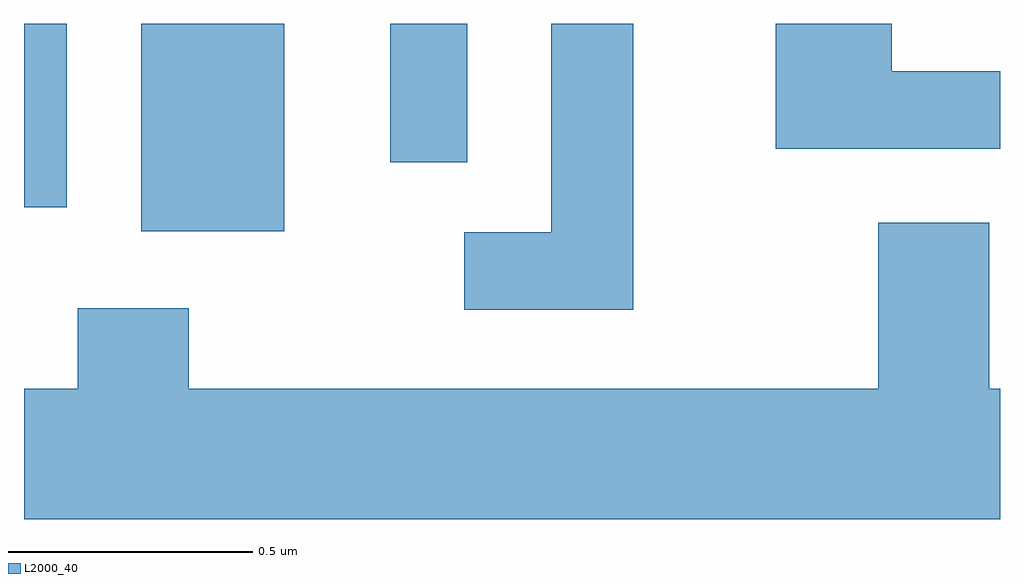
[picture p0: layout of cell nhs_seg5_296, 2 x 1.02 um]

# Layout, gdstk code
import gdstk
lib = gdstk.Library(unit=1e-6, precision=1e-09)
def R(c, l, rs):  # rectangles x0, y0, x1, y1
    for r in rs: c.add(gdstk.rectangle(r[:2], r[2:], *l))
def P(c, l, *ps):  # polygons
    for p in ps: c.add(gdstk.Polygon(p, *l))
L2000_40 = (2000, 40)

nhs_seg5_296 = lib.new_cell('nhs_seg5_296')
R(nhs_seg5_296, L2000_40, [(187.851,1419.646,188.144,1420.072), (187.611,1419.696,187.699,1420.072), (188.361,1419.788,188.519,1420.072)])
P(nhs_seg5_296, L2000_40, [(189.611,1419.974),(189.389,1419.974),(189.389,1420.072),(189.151,1420.072),(189.151,1419.816),(189.611,1419.816)],
  [(188.859,1420.072),(188.691,1420.072),(188.691,1419.644),(188.513,1419.644),(188.513,1419.486),(188.859,1419.486)],
  [(189.611,1419.324),(189.589,1419.324),(189.589,1419.664),(189.361,1419.664),(189.361,1419.324),(187.949,1419.324),(187.949,1419.489),(187.721,1419.489),(187.721,1419.324),(187.611,1419.324),(187.611,1419.056),(189.611,1419.056)])

lib.write_gds('nhs_seg5_296.gds')
